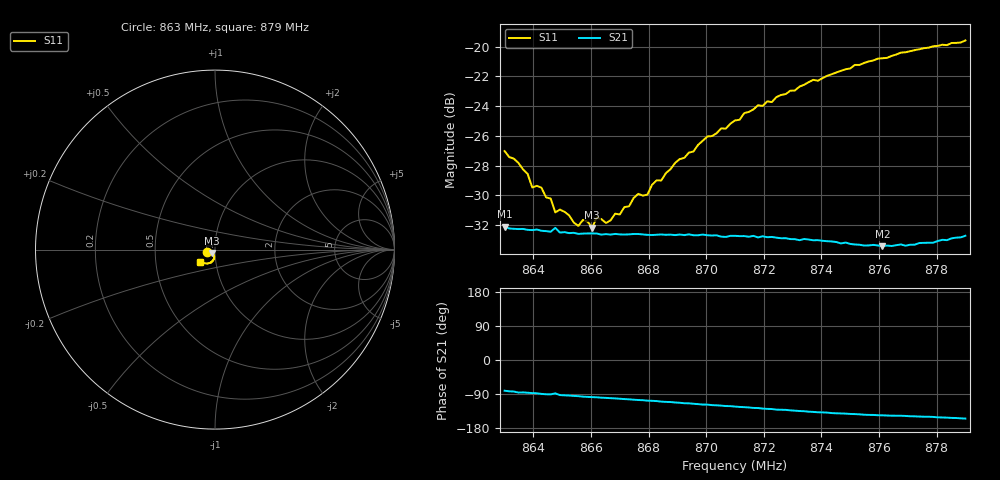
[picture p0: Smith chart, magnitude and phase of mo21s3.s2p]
# HZ S RI R 50
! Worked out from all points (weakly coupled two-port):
!   101 points, 863 MHz to 879 MHz, reference 50 ohm
!   highest |S21| = -32.12 dB at 863 MHz (marker M1); lowest = -33.4 dB at 876.12 MHz (marker M2)
!   lowest |S11| = -32.2 dB at 866.04 MHz (marker M3), VSWR 1.05, Z = 48.5 - j1.88 ohm
!   |S11| at or under -10 dB: start of sweep to end of sweep
!   S12 and S22 are empty: the file has one direction only
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8.63e8  -0.042 -0.0147  0.00384 -0.0245  0 0  0 0
8.638e8  -0.0345 -0.0142  0.00153 -0.0241  0 0  0 0
8.6396e8  -0.0304 -0.0142  0.00113 -0.0241  0 0  0 0
8.6428e8  -0.0298 -0.0153  0.000239 -0.024  0 0  0 0
8.646e8  -0.0268 -0.0153  -0.000281 -0.0238  0 0  0 0
8.6476e8  -0.0227 -0.0159  0.000854 -0.0246  0 0  0 0
8.6508e8  -0.022 -0.0171  -0.00135 -0.0237  0 0  0 0
8.6556e8  -0.0184 -0.0168  -0.00223 -0.0233  0 0  0 0
8.6572e8  -0.0176 -0.0193  -0.00276 -0.0233  0 0  0 0
8.6604e8  -0.0152 -0.0194  -0.00325 -0.0233  0 0  0 0
8.662e8  -0.0165 -0.0209  -0.00344 -0.0233  0 0  0 0
8.6652e8  -0.0128 -0.0221  -0.00406 -0.0231  0 0  0 0
8.6764e8  -0.00915 -0.0306  -0.00628 -0.0226  0 0  0 0
8.6796e8  -0.00663 -0.0311  -0.00692 -0.0222  0 0  0 0
8.6844e8  -0.00532 -0.0351  -0.00792 -0.022  0 0  0 0
8.6892e8  -0.00514 -0.0403  -0.00874 -0.0215  0 0  0 0
8.7004e8  -0.00509 -0.0496  -0.0108 -0.0205  0 0  0 0
8.71e8  -0.00865 -0.0558  -0.0125 -0.0194  0 0  0 0
8.7372e8  -0.0238 -0.0736  -0.0163 -0.0152  0 0  0 0
8.7612e8  -0.0486 -0.0774  -0.0177 -0.0119  0 0  0 0
8.7644e8  -0.0529 -0.0766  -0.0179 -0.0117  0 0  0 0
8.79e8  -0.0808 -0.067  -0.0209 -0.00992  0 0  0 0
